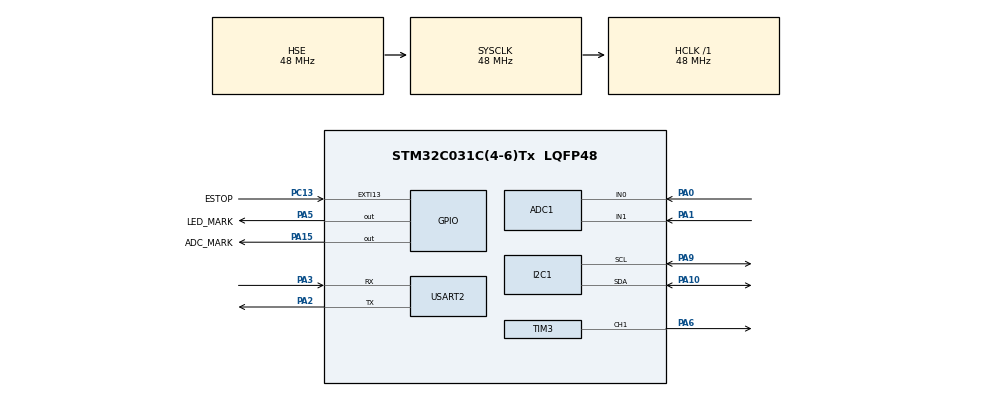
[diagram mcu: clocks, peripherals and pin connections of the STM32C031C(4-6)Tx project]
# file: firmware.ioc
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ADC1.NbrOfConversionFlag=0
ADC1.SelectedChannel=ADC_CHANNEL_0|ADC_CHANNEL_1
ADC1.master=1
I2C1.Timing=0x10805D88
Mcu.Family=STM32C0
Mcu.Name=STM32C031C(4-6)Tx
Mcu.Package=LQFP48
NVIC.EXTI4_15_IRQn=true\:0\:0\:false\:false\:true\:false\:true\:true
PA0.Mode=IN0
PA0.Signal=ADC1_IN0
PA1.Mode=IN1
PA1.Signal=ADC1_IN1
PA10.Mode=I2C
PA10.Signal=I2C1_SDA
PA13.GPIO_Label=DEBUG_SWDIO
PA13.Signal=DEBUG_SWDIO
PA14-BOOT0.GPIO_Label=DEBUG_SWCLK
PA14-BOOT0.Signal=DEBUG_SWCLK
PA15.GPIO_Label=ADC_MARK
PA15.Signal=GPIO_Output
PA2.Mode=Asynchronous
PA2.Signal=USART2_TX
PA3.Mode=Asynchronous
PA3.Signal=USART2_RX
PA5.GPIO_Label=LED_MARK
PA5.Signal=GPIO_Output
PA6.Signal=S_TIM3_CH1
PA9.Mode=I2C
PA9.Signal=I2C1_SCL
PC13.GPIO_Label=ESTOP
PC13.GPIO_ModeDefaultEXTI=GPIO_MODE_IT_FALLING
PC13.GPIO_PuPd=GPIO_PULLUP
PC13.Signal=GPXTI13
PC14-OSCX_IN\ (PC14).GPIO_Label=RCC_OSCX_IN
PC14-OSCX_IN\ (PC14).Mode=LSE-External-Oscillator
PC14-OSCX_IN\ (PC14).Signal=RCC_OSCX_IN
PC15-OSCX_OUT\ (PC15).GPIO_Label=RCC_OSCX_OUT
PC15-OSCX_OUT\ (PC15).Mode=LSE-External-Oscillator
PC15-OSCX_OUT\ (PC15).Signal=RCC_OSCX_OUT
PF0-OSC_IN\ (PF0).GPIO_Label=RCC_OSC_IN
PF0-OSC_IN\ (PF0).Mode=HSE-External-Oscillator
PF0-OSC_IN\ (PF0).Signal=RCC_OSC_IN
PF1-OSC_OUT\ (PF1).GPIO_Label=RCC_OSC_OUT
PF1-OSC_OUT\ (PF1).Mode=HSE-External-Oscillator
PF1-OSC_OUT\ (PF1).Signal=RCC_OSC_OUT
ProjectManager.HeapSize=0x200
ProjectManager.StackSize=0x400
ProjectManager.TargetToolchain=Makefile
RCC.ADCFreq_Value=48000000
RCC.AHBFreq_Value=48000000
RCC.CortexFreq_Value=48000000
RCC.EXTERNAL_CLOCK_VALUE=12288000
RCC.HCLKFreq_Value=48000000
RCC.HSE_VALUE=48000000
RCC.HSISYSCLKDivider=RCC_HSI_DIV1
RCC.HSI_VALUE=48000000
RCC.SYSCLKFreq_VALUE=48000000
RCC.SYSCLKSource=RCC_SYSCLKSOURCE_HSE
SH.S_TIM3_CH1.0=TIM3_CH1,PWM Generation1 CH1
TIM3.Channel-PWM\ Generation1\ CH1=TIM_CHANNEL_1
TIM3.Period=19999
TIM3.Prescaler=47
USART2.VirtualMode-Asynchronous=VM_ASYNC
VP_NUCLEO-C031C6_VS_BSP_COMMON.Mode=COMMON
board=NUCLEO-C031C6

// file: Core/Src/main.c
/* USER CODE BEGIN Header */
/**
  ******************************************************************************
  * @file           : main.c
  * @brief          : Main program body
  ******************************************************************************
  * @attention
  *
  * Copyright (c) 2026 STMicroelectronics.
  * All rights reserved.
  *
  * This software is licensed under terms that can be found in the LICENSE file
  * in the root directory of this software component.
  * If no LICENSE file comes with this software, it is provided AS-IS.
  *
  ******************************************************************************
  */
/* USER CODE END Header */
#include "main.h"
#include "adc.h"
#include "i2c.h"
#include "tim.h"
#include "usart.h"
#include "gpio.h"

/* USER CODE BEGIN Includes */
#include <stdarg.h>
#include <stdio.h>
#include <string.h>
#include "board.h"
#include "platform.h"
#include "adc_hal.h"
#include "servo_hal.h"
#include "i2c_hal.h"
#include "uart_hal.h"
#include "mpu6050.h"
#include "lcd1602.h"
#include "cli.h"
#include "period.h"
#include "gate.h"
#include "classify.h"
#include "impact.h"
#include "sorter.h"
#include "health.h"
#include "lcdfmt.h"
#if PERF
#include "perf.h"
#include "perf_hal.h"
#include "memmark.h"
#include "mem_hal.h"
#include <malloc.h>
#endif
/* USER CODE END Includes */

/* USER CODE BEGIN PTD */
/* Підсумок самоперевірки при старті (FR-08) */
typedef struct {
  unsigned ok, warn, fail;
} selftest_counts_t;

/* Сенсори для сценарію старту (методичка 6.2.7, docs/scenarios.md) */
enum { RDY_GATE = 0, RDY_CLASS, RDY_IMU, RDY_LCD, RDY_COUNT };

/* Номери задач super loop для вимірювань (docs/perf.md) */
enum {
  PT_UART = 0,
  PT_ESTOP,
  PT_GATE,
  PT_SORT,
  PT_IMU,
  PT_LCD,
  PT_LCD_PART,      /* дописування змінених символів LCD між періодами (set lcd_chars) */
#ifdef LAB2_CAP
  PT_TELEMETRY,
#endif
  PT_COUNT
};
/* USER CODE END PTD */

/* USER CODE BEGIN PD */
/* Super loop: періоди задач — усі тут (docs/tasks.md). Кожна задача сама
 * перевіряє HAL_GetTick і повертає керування, якщо її час не настав. */
#define GATE_PERIOD_MS      5u      /* gate_task: відлік АЦП gate, FR-01 */
#define IMU_PERIOD_MS       10u     /* imu_task: прискорення MPU-6050, FR-04 */
#define LCD_PERIOD_MS       500u    /* lcd_task: стан і лічильники на LCD1602, FR-06 */
#define ESTOP_DEBOUNCE_MS   20u     /* estop_task: EXTI кнопки вимкнено на цей час після першого фронту */

#define PERF_WIN_MS         1000u   /* вікно завантаження CPU, docs/perf.md */
#define IMU_READY_MG        500     /* |a| від 0,5 g — MPU справді міряє (у SLEEP на залізі дає нулі) */

#define FW_NAME             "lab3-superloop"
#ifndef GIT_HASH
#define GIT_HASH            "unknown"   /* app.mk передає -DGIT_HASH з git describe */
#endif
#define SERVO_SELFTEST_DEG  90u     /* середина ходу серво під час самоперевірки */

#ifdef TEST_I2C_FAULT
/* PRD, тест FR-09: make -f app.mk TEST_I2C_FAULT=1 */
#define I2C_FAULT_ADDR      0x69u   /* MPU-6050 з AD0 = 1 — на шині немає */
#define I2C_FAULT_PERIOD_MS 1000u   /* як часто imu_task звертається до I2C_FAULT_ADDR */
#endif

/* Вимірювальний harness ЛР2 (команди cap …, I2C-скан, телеметрія stream) —
 * лише у збірці make -f app.mk LAB2_CAP=1 */
#ifdef LAB2_CAP
#define TELEMETRY_PERIOD_MS 1000u   /* період рядка accel, поки stream on */
#define CAP_NACK_ADDR       0x69u   /* MPU-6050 з AD0 = 1 — на шині немає, чекаємо NACK */
#define CAP_SERVO_HOLD_MS   45u     /* LED_MARK після запису CCR: > 2 періоди ШИМ по 20 мс */
#define CAP_LCD_TEXT        "CAP             "   /* 16 символів: стирає старий рядок */

_Static_assert(CLI_SERVO_MAX_DEG == SERVO_HAL_MAX_DEG, "межа cap servo у cli.h != servo_hal.h");
#endif
/* USER CODE END PD */

/* USER CODE BEGIN PM */
/* Обгортка роботи задачі (методичка 5.1, приклад 1): такти до й після, джитер
 * старту періодичної задачі, завантаження. Викликається лише тоді, коли задача
 * справді працює, а не тільки перевіряє свій час. PERF=0 — просто виклик. */
/* Перший коректний вимір сенсора після скидання (методичка 6.2.7). Без PERF
 * умова READY_IF не обчислюється */
#if PERF
#define READY(what) ready_mark(what)
#define READY_IF(cond, what) \
  do { if (ready_us[what] == 0u && (cond)) ready_mark(what); } while (0)
#else
#define READY(what) ((void)0)
#define READY_IF(cond, what) ((void)0)
#endif

#if PERF
#define TASK_RUN(id, call) \
  do { uint32_t t0_ = perf_begin(id); call; perf_end((id), t0_); } while (0)
#else
#define TASK_RUN(id, call) call
#endif
/* USER CODE END PM */

/* USER CODE BEGIN PV */
#if PERF
/* Похибка методу (docs/perf.md): вартість самого виміру, тактів */
static uint32_t perf_now_cyc;    /* порожній інтервал між двома perf_now() */
static uint32_t perf_pair_cyc;   /* t0 = perf_now(); perf_add(&s, perf_now() - t0) */

static uint32_t cyc_per_us;
static perf_load_t load;         /* LOAD раз на PERF_WIN_MS */

/* STAT для кожної задачі — лише запуски з роботою. Назви ставить perf_setup:
 * з ініціалізатором уся статистика лягла б у .data і мала б копію у флеші */
static perf_stat_t st_task[PT_COUNT];
static const char *const task_name[PT_COUNT] = {
  [PT_UART] = "uart_rx", [PT_ESTOP] = "estop", [PT_GATE] = "gate",
  [PT_SORT] = "sort", [PT_IMU] = "imu", [PT_LCD] = "lcd", [PT_LCD_PART] = "lcd_part",
#ifdef LAB2_CAP
  [PT_TELEMETRY] = "telemetry",
#endif
};
static perf_stat_t st_loop;          /* loop: повний прохід циклу */
static perf_stat_t st_i2c;           /* i2c_xfer: виклик шини, з повторами FR-09 */
static perf_stat_t st_uart_line;     /* uart_line: один рядок журналу в UART */
static perf_stat_t st_lcd_update;    /* lcd_update: обидва рядки LCD */

/* Затримки реакції (методичка 5.1, приклад 2) */
static perf_stat_t st_estop_lat;     /* estop_latency: фронт PC13 → реакція */
static perf_stat_t st_parcel_lat;    /* parcel_latency: PARCEL_IN → запис CCR, FR-03 */

/* Старт: мкс від скидання (uwTick = 0 у HAL_Init) до BOOT і до першого
 * коректного виміру кожного сенсора; 0 — ще не було */
static uint32_t boot_us;
static uint32_t ready_us[RDY_COUNT];
static volatile uint32_t estop_irq_cyc;   /* perf_now() у EXTI-колбеку */
static uint32_t parcel_cyc;               /* perf_now() у момент PARCEL_IN */
static uint8_t i2c_failed;                /* остання транзакція впала: наступна вдала — EVT i2c_ok */

/* Джитер, пропуски й гістограма періодичних задач */
static perf_period_t per_gate, per_imu, per_lcd;
#ifdef LAB2_CAP
static perf_period_t per_tele;
#endif
static perf_period_t *const task_period[PT_COUNT] = {
  [PT_GATE] = &per_gate,
  [PT_IMU]  = &per_imu,
  [PT_LCD]  = &per_lcd,
#ifdef LAB2_CAP
  [PT_TELEMETRY] = &per_tele,
#endif
};

static i2c_bus_t i2c1_raw;       /* шина i2c_hal; i2c1_bus поверх неї міряє кожну транзакцію */
#endif
static i2c_hal_ctx_t i2c1_ctx;
static i2c_bus_t i2c1_bus;
static mpu6050_t imu;
static uint8_t imu_ready;   /* MPU-6050 відповів з WHO_AM_I = 0x68: imu_task його опитує */
static lcd1602_t lcd;
static uint8_t lcd_ready;   /* LCD пройшов probe та init */
static cli_t cli;
static gate_t gate;
static sorter_t sorter;
static const char *fault_reason;      /* FR-08: перша причина FAULT — ключ reason= у журналі */
static const char *fault_text = "";   /*   і текст для LCD */
/* Ручки для пошуку точки зламу (команда set, docs/scenarios.md, 6.2.5) */
static uint16_t lcd_period_ms = LCD_PERIOD_MS;
static uint16_t imu_period_ms = IMU_PERIOD_MS;
static uint8_t lcd_chars;             /* 0 — повна перемальовка; N — лише змінені, ≤ N символів за прохід */
static uint8_t log_level = 2;         /* 0 — нічого, 1 — події продукту, 2 — ще EVT і LOAD (log on|off = 2|0) */

static char lcd_want[2][LCD1602_COLS + 1];   /* що має бути на LCD */
static char lcd_shown[2][LCD1602_COLS];      /* що там зараз (для lcd_chars > 0; 0 — невідомо) */
static uint8_t lcd_pending;                  /* lcd_chars > 0: ще є незаписані зміни */

/* Момент останнього запуску періодичних задач (HAL_GetTick) */
static uint32_t t_gate, t_imu, t_lcd;

/* Подія PARCEL_IN: виставляє gate_task, обробляє sort_task */
static uint8_t parcel_pending;
static uint32_t parcel_ms;    /* HAL_GetTick відліку, на якому виявлено посилку */

static volatile uint8_t estop_pending;      /* був фронт PC13, EXTI вимкнено до кінця брязкоту */
static volatile uint32_t estop_edge_ms;     /* час першого фронту */

#ifdef LAB2_CAP
static uint8_t stream_on = 1;   /* періодичний рядок accel (команда stream) */
#endif

/* Текст команди help; синтаксис розбирає App/cli.c */
static const char *const help_lines[] = {
  "help                this list",
  "status              state, counters A/B/REJECT",
  "reset               zero the counters",
  "log on|off          event lines on UART (default on)",
#if PERF
  "stats [reset]       timing stats",
  "load                CPU load, 1 s",
  "stack | heap        memory",
  "hist gate|imu|lcd   jitter histogram",
  "set <knob> <n>      lcd_ms lcd_chars imu_ms log",
#endif
#ifdef LAB2_CAP
  "stream on|off       periodic 'accel' line (default on)",
  "cap whoami          MPU-6050: write 0x75, read 1 byte",
  "cap accel           MPU-6050: write 0x3B, read 6 bytes",
  "cap wr2             MPU-6050: 2-byte write PWR_MGMT_1 = 0x00",
  "cap nack            1-byte write to absent 0x69, NACK expected",
  "cap lcd             'CAP' on LCD row 1 (1-byte PCF8574 writes)",
  "cap servo <0..180>  set servo angle",
  "cap adc             one gate + one class conversion",
  "cap uart            send 0x55 and 'UART-TEST'",
#endif
};
/* USER CODE END PV */

void SystemClock_Config(void);
/* USER CODE BEGIN PFP */
static void uart_rx_task(void);
static void estop_task(void);
static void gate_task(void);
static void sort_task(void);
static void imu_task(void);
static void lcd_task(void);
static void ev_vprint(const char *event, const char *fmt, va_list ap);
static void ev_log(const char *event, const char *fmt, ...) __attribute__((format(printf, 2, 3)));
static void cli_reply(const char *event, const char *fmt, ...) __attribute__((format(printf, 2, 3)));
static void led_mark(uint8_t on);
static selftest_counts_t selftest_run(void);
static void selftest_report(selftest_counts_t *cnt, const char *dev, health_t h,
                            const char *fmt, ...) __attribute__((format(printf, 4, 5)));
static health_t selftest_ldr(selftest_counts_t *cnt, const char *dev, uint32_t channel);
static void fault_note(const char *reason, const char *text);
static const char *mpu_err_name(mpu6050_status_t st);
static void lcd_show_selftest(const selftest_counts_t *cnt);
static void console_echo(char ch);
static void cmd_run(const cli_cmd_t *cmd);
static void con_write(const char *s, int n);
static void uart_rx_run(int ch);
static void estop_run(void);
static void gate_run(void);
static void sort_run(void);
static void imu_run(void);
static void lcd_run(uint8_t due);
static lcd_status_t lcd_write_changed(void);
#if PERF
static void perf_calibrate(void);
static void perf_setup(void);
static uint32_t perf_begin(unsigned id);
static void perf_end(unsigned id, uint32_t t0);
static bus_status_t meas_write(void *ctx, uint8_t addr7, const uint8_t *data, size_t len);
static bus_status_t meas_read(void *ctx, uint8_t addr7, uint8_t *data, size_t len);
static void i2c_measured(uint32_t t0, bus_status_t st);
static void evt(const char *name, uint64_t t_us);
static void stack_report(void);
static void heap_report(void);
static void stats_report(void);
static void stats_reset(void);
static void load_line(void (*out)(const char *, const char *, ...));
static void load_report(void);
static void hist_report(const char *name);
static void knobs_line(void);
static void set_knob(const char *name, int32_t v);
static void ready_mark(unsigned what);
static void ready_flush(void);
#endif
#if defined(LAB2_CAP) || defined(TEST_I2C_FAULT)
static const char *bus_st_name(bus_status_t st);
#endif
#ifdef TEST_I2C_FAULT
static void i2c_fault_probe(void);
#endif
#ifdef LAB2_CAP
static void i2c_scan(void);
static void telemetry_task(void);
static void telemetry_run(void);
static void cap_begin(void);
static void cap_end(void);
static void cap_report(const char *name, const char *st, const char *fmt, ...)
    __attribute__((format(printf, 3, 4)));
static void cap_report_bus(const char *name, bus_status_t st);
static bus_status_t cap_mpu_read(uint8_t reg, uint8_t *buf, size_t len);
static void cap_whoami(void);
static void cap_accel(void);
static void cap_wr2(void);
static void cap_nack(void);
static void cap_lcd(void);
static void cap_servo(uint8_t deg);
static void cap_adc(void);
static void cap_uart(void);
#endif
/* USER CODE END PFP */

/* USER CODE BEGIN 0 */
int _write(int fd, char *p, int n)
{
  (void)fd;
  HAL_UART_Transmit(BOARD_UART, (uint8_t *)p, n, HAL_MAX_DELAY);
  return n;
}

/* Сирі байти в UART повз stdio. printf("\r\n") GCC сам перетворює на puts, а
 * putchar — ще один модуль newlib; stdout без буфера, тож порядок виводу той самий */
static void con_write(const char *s, int n)
{
  (void)_write(1, (char *)s, n);
}
/* USER CODE END 0 */

int main(void)
{

  /* USER CODE BEGIN 1 */
#if PERF
  /* Stack painting першим рядком main (методичка 5.4): резерв стека
   * [_estack - _Min_Stack_Size, SP - 16 слів) — шаблоном; поточний кадр не чіпаємо */
  memmark_paint(mem_hal_stack_bottom(), mem_hal_sp() - 16, MEMMARK_PATTERN);
#endif
  /* USER CODE END 1 */

  /* MCU Configuration--------------------------------------------------------*/

  /* Reset of all peripherals, Initializes the Flash interface and the Systick. */
  HAL_Init();

  /* Configure the system clock */
  SystemClock_Config();

  /* Initialize all configured peripherals */
  MX_GPIO_Init();
  MX_ADC1_Init();
  MX_I2C1_Init();
  MX_TIM3_Init();
  MX_USART2_UART_Init();
  /* USER CODE BEGIN 2 */
  setvbuf(stdout, NULL, _IONBF, 0);
#if PERF
  perf_hal_init();
  perf_setup();
#endif
  ev_log("BOOT", "fw=%s git=%s perf=%u", FW_NAME, GIT_HASH, (unsigned)PERF);
#if PERF
  {
    uint64_t t = perf_now_us64();
    boot_us = (uint32_t)t;
    evt("boot", t);
  }
  knobs_line();
  perf_calibrate();
#endif
  HAL_ADCEx_Calibration_Start(BOARD_ADC);
  servo_hal_start();

#ifdef LAB2_CAP
  i2c_scan();
#endif

  /* FR-08: самоперевірка; FAIL хоча б одного пристрою — FAULT до перезапуску.
   * На час самоперевірки — 1 спроба I2C: mpu6050_init сам повторює запис
   * PWR_MGMT_1 3 рази, а в Wokwi кожен 2-байтовий запис — TIMEOUT
   * (docs/journal.md, проблема 8), інакше було б 3 × 3 тайм-аути. FR-09
   * (до 3 спроб) — лише в робочому циклі. */
#if PERF
  i2c_hal_bus_init(&i2c1_raw, &i2c1_ctx, BOARD_I2C, BOARD_I2C_REINIT);
  i2c1_bus.write = meas_write;
  i2c1_bus.read = meas_read;
  i2c1_bus.ctx = &i2c1_raw;
#else
  i2c_hal_bus_init(&i2c1_bus, &i2c1_ctx, BOARD_I2C, BOARD_I2C_REINIT);
#endif
  i2c_hal_set_tries(&i2c1_ctx, 1);
  selftest_counts_t st = selftest_run();
  i2c_hal_set_tries(&i2c1_ctx, I2C_HAL_MAX_TRIES);
  lcd_show_selftest(&st);
  sorter_init(&sorter, st.fail != 0u);
  if (sorter.state == SORTER_FAULT)
    ev_log("FAULT", "reason=%s", fault_reason);

  gate_init(&gate, GATE_ON_RAW, GATE_OFF_RAW);
  cli_init(&cli);
  t_gate = t_imu = t_lcd = HAL_GetTick();   /* підсумок самоперевірки на LCD — ще LCD_PERIOD_MS */
  ev_log("STATE", "state=%s", sorter_state_name(sorter.state));
#if PERF
  stack_report();               /* глибина стека й купа після старту (методичка 5.4) */
  heap_report();
#endif
  /* USER CODE END 2 */

  /* Infinite loop */
  while (1)
  {

    /* USER CODE BEGIN 3 */
    /* Super loop: задачі по черзі; кожна сама перевіряє свій час і повертає
     * керування. Блокувальні виклики всередині задач — docs/tasks.md. */
#if PERF
    uint32_t t_loop = perf_now();
    if (perf_load_poll(&load, t_loop) && log_level >= 2)
      load_line(ev_log);
#endif
    uart_rx_task();
    estop_task();
    gate_task();
    sort_task();
    imu_task();
    lcd_task();
#ifdef LAB2_CAP
    telemetry_task();
#endif
#if PERF
    ready_flush();
    perf_add(&st_loop, perf_now() - t_loop);
#endif
  }
  /* USER CODE END 3 */
}

void SystemClock_Config(void)
{
  RCC_OscInitTypeDef RCC_OscInitStruct = {0};
  RCC_ClkInitTypeDef RCC_ClkInitStruct = {0};

  __HAL_FLASH_SET_LATENCY(FLASH_LATENCY_1);

  /** Initializes the RCC Oscillators according to the specified parameters
  * in the RCC_OscInitTypeDef structure.
  */
  RCC_OscInitStruct.OscillatorType = RCC_OSCILLATORTYPE_HSE;
  RCC_OscInitStruct.HSEState = RCC_HSE_ON;
  if (HAL_RCC_OscConfig(&RCC_OscInitStruct) != HAL_OK)
  {
    Error_Handler();
  }

  /** Initializes the CPU, AHB and APB buses clocks
  */
  RCC_ClkInitStruct.ClockType = RCC_CLOCKTYPE_HCLK|RCC_CLOCKTYPE_SYSCLK
                              |RCC_CLOCKTYPE_PCLK1;
  RCC_ClkInitStruct.SYSCLKSource = RCC_SYSCLKSOURCE_HSE;
  RCC_ClkInitStruct.SYSCLKDivider = RCC_SYSCLK_DIV1;
  RCC_ClkInitStruct.AHBCLKDivider = RCC_HCLK_DIV1;
  RCC_ClkInitStruct.APB1CLKDivider = RCC_APB1_DIV1;

  if (HAL_RCC_ClockConfig(&RCC_ClkInitStruct, FLASH_LATENCY_1) != HAL_OK)
  {
    Error_Handler();
  }
}

/* USER CODE BEGIN 4 */
/* ---------------------------------------------------------------------------
 * Журнал подій FR-10: один рядок "<мс> <ПОДІЯ> key=value ..." на подію.
 * printf → _write → HAL_UART_Transmit: виклик блокує цикл до кінця передачі,
 * ≈ 87 мкс на байт при 115200 8N1.
 * ------------------------------------------------------------------------- */
static void ev_vprint(const char *event, const char *fmt, va_list ap)
{
#if PERF
  uint32_t t0 = perf_now();
#endif
  printf("%lu %s ", (unsigned long)HAL_GetTick(), event);
  vprintf(fmt, ap);
  con_write("\r\n", 2);
#if PERF
  perf_add(&st_uart_line, perf_now() - t0);
#endif
}

/* Подія: друкується, лише поки log on */
static void ev_log(const char *event, const char *fmt, ...)
{
  va_list ap;

  if (log_level == 0)
    return;
  va_start(ap, fmt);
  ev_vprint(event, fmt, ap);
  va_end(ap);
}

/* Відповідь на команду CLI: друкується завжди */
static void cli_reply(const char *event, const char *fmt, ...)
{
  va_list ap;

  va_start(ap, fmt);
  ev_vprint(event, fmt, ap);
  va_end(ap);
}

/* Маркер FR-03 на LD4 (PA5, канал D4 аналізатора): фронт — посилку виявлено
 * (gate_task), спад — рішення прийнято і CCR серво записано (sort_task).
 * Ширина імпульсу — програмна затримка реакції; від фронту D4 до першого
 * імпульсу нової ширини на D2 (PA6) — повна затримка FR-03. */
static void led_mark(uint8_t on)
{
  HAL_GPIO_WritePin(BOARD_LED_MARK_PORT, BOARD_LED_MARK_PIN, on ? GPIO_PIN_SET : GPIO_PIN_RESET);
}

/* ---------------------------------------------------------------------------
 * Задачі super loop (docs/tasks.md)
 * ------------------------------------------------------------------------- */

/* Кожен прохід: усі прийняті байти → cli; завершена команда виконується тут же
 * разом з друком відповіді. USART2 без FIFO, прийом опитуванням: якщо між двома
 * викликами приходить більше одного байта (цикл заблоковано довше ≈ 87 мкс при
 * безперервному потоці), решта губиться (ORE). */
static void uart_rx_task(void)
{
  int ch = uart_hal_getc();

  if (ch < 0)
    return;
  TASK_RUN(PT_UART, uart_rx_run(ch));
}

/* Перший байт уже прочитано; решту, що встигла прийти, забираємо тут же */
static void uart_rx_run(int ch)
{
  do {
    cli_cmd_t cmd;

    console_echo((char)ch);
    if (cli_feed(&cli, (char)ch, &cmd)) {
#if PERF
      uint64_t us_rx = perf_now_us64();   /* цикл дійшов до кінця рядка команди */
#endif
      if (ch != '\r' && ch != '\n')
        con_write("\r\n", 2);   /* переповнення: команда завершилась посеред рядка */
      cmd_run(&cmd);
#if PERF
      uint64_t us_reply = perf_now_us64();
      evt("cmd_rx", us_rx);
      evt("cmd_reply", us_reply);
#endif
    }
  } while ((ch = uart_hal_getc()) >= 0);
}

/* Кнопка E-STOP (PC13, EXTI за спадом, pull-up). ISR лише фіксує перший фронт і
 * вимикає EXTI: кнопка Wokwi брязкотить до 2,4 мс і дає до ~200 фронтів на перехід,
 * а клік тримає кнопку від 33 мс (docs/journal.md, проблема 14). */
void HAL_GPIO_EXTI_Falling_Callback(uint16_t GPIO_Pin)
{
  if (GPIO_Pin != BOARD_ESTOP_PIN)
    return;
  HAL_NVIC_DisableIRQ(BOARD_ESTOP_IRQ);
#if PERF
  estop_irq_cyc = perf_now();
#endif
  estop_edge_ms = HAL_GetTick();
  estop_pending = 1;
}

/* Подія від ISR. Через ESTOP_DEBOUNCE_MS після фронту: PC13 = 0 — натискання,
 * стан перемикається (FR-07); PC13 = 1 — брязкіт відпускання. Фронти за цей час
 * скидаються, EXTI вмикається знову — ще до друку рядка. */
static void estop_task(void)
{
  if (!estop_pending || HAL_GetTick() - estop_edge_ms < ESTOP_DEBOUNCE_MS)
    return;
  TASK_RUN(PT_ESTOP, estop_run());
}

static void estop_run(void)
{
  static uint16_t presses;

  estop_pending = 0;
#if PERF
  /* Мітку ISR читаємо до EnableIRQ: поки переривання вимкнене, колбек її не
   * перезапише. Час реакції — момент, коли цикл дійшов до рішення. */
  uint32_t t_irq = estop_irq_cyc;
  uint32_t t_react = perf_now();
  uint64_t us_react = perf_now_us64();
#endif
  uint8_t pressed = (HAL_GPIO_ReadPin(BOARD_ESTOP_PORT, BOARD_ESTOP_PIN) == GPIO_PIN_RESET);
  __HAL_GPIO_EXTI_CLEAR_FALLING_IT(BOARD_ESTOP_PIN);
  HAL_NVIC_ClearPendingIRQ(BOARD_ESTOP_IRQ);
  HAL_NVIC_EnableIRQ(BOARD_ESTOP_IRQ);

  if (pressed) {
    sorter_state_t st = sorter_estop_toggle(&sorter);
    presses++;
    ev_log("ESTOP", "n=%u state=%s", (unsigned)presses, sorter_state_name(st));
#if PERF
    uint32_t lat = t_react - t_irq;   /* включно з ESTOP_DEBOUNCE_MS */
    perf_add(&st_estop_lat, lat);
    evt("estop_irq", us_react - perf_cyc_to_us(lat, cyc_per_us));
    evt("estop_react", us_react);
#endif
  }
}

/* Кожні GATE_PERIOD_MS: відлік АЦП gate → поріг з гістерезисом (FR-01).
 * PARCEL_IN — подія для sort_task; PARCEL_OUT — посилка пройшла, SORTING → READY. */
static void gate_task(void)
{
  if (!period_due(&t_gate, HAL_GetTick(), GATE_PERIOD_MS))
    return;
  TASK_RUN(PT_GATE, gate_run());
}

static void gate_run(void)
{
  uint16_t raw = adc_hal_read(BOARD_ADC_CH_GATE);
  READY_IF(health_ldr(raw, ADC_HAL_MAX_RAW) == HEALTH_OK, RDY_GATE);
  switch (gate_update(&gate, raw)) {
  case GATE_EV_IN:
#if PERF
    parcel_cyc = perf_now();
#endif
    led_mark(1);
    parcel_ms = HAL_GetTick();
    parcel_pending = 1;
    ev_log("PARCEL_IN", "gate=%u", (unsigned)raw);
    break;
  case GATE_EV_OUT:
    sorter_parcel_out(&sorter);
    ev_log("PARCEL_OUT", "gate=%u state=%s", (unsigned)raw, sorter_state_name(sorter.state));
    break;
  default:
    break;
  }
}

/* Подія PARCEL_IN: клас (FR-02), прапорець удару (FR-04), лоток (FR-05),
 * заслінка (FR-03), лічильники (FR-06). Спершу дія, потім рядок журналу.
 * Нова ширина імпульсу на PA6 з'являється з наступного періоду ШИМ (≤ 20 мс). */
static void sort_task(void)
{
  if (!parcel_pending)
    return;
  TASK_RUN(PT_SORT, sort_run());
}

static void sort_run(void)
{
  sorter_decision_t d;

  parcel_pending = 0;

  uint16_t raw = adc_hal_read(BOARD_ADC_CH_CLASS);
  READY_IF(health_ldr(raw, ADC_HAL_MAX_RAW) == HEALTH_OK, RDY_CLASS);
  parcel_class_t cls = classify(raw);
  int accepted = sorter_parcel_in(&sorter, cls, &d);
  if (accepted)
    servo_hal_set_angle(d.angle);
#if PERF
  uint32_t t_dec = perf_now();          /* CCR записано (або посилку пропущено) */
  uint64_t us_dec = perf_now_us64();
#endif
  led_mark(0);
  uint32_t lat_ms = HAL_GetTick() - parcel_ms;

  if (accepted)
    ev_log("SORT", "n=%lu class=%s raw=%u impact=%u route=%s angle=%u lat_ms=%lu",
           (unsigned long)d.n, classify_name(cls), (unsigned)raw, (unsigned)d.impact,
           sorter_bin_name(d.bin), (unsigned)d.angle, (unsigned long)lat_ms);
  else
    ev_log("SORT_SKIP", "state=%s class=%s",
           sorter_state_name(sorter.state), classify_name(cls));
#if PERF
  /* EVT друкуємо після дії: рядок журналу (~3 мс) не входить у затримку */
  uint32_t lat = t_dec - parcel_cyc;
  evt("parcel_in", us_dec - perf_cyc_to_us(lat, cyc_per_us));
  if (accepted) {
    perf_add(&st_parcel_lat, lat);
    evt("servo_set", us_dec);
  }
#endif
}

/* Кожні IMU_PERIOD_MS: прискорення MPU-6050; |a| > 2 g — прапорець удару для
 * посилки, що зараз їде до gate (FR-04). Рядок IMPACT — один на посилку. */
static void imu_task(void)
{
  if (!imu_ready || !period_due(&t_imu, HAL_GetTick(), imu_period_ms))
    return;
  TASK_RUN(PT_IMU, imu_run());
}

static void imu_run(void)
{
  mpu6050_accel_raw_t a;

#ifdef TEST_I2C_FAULT
  i2c_fault_probe();
#endif

  mpu6050_status_t st = mpu6050_read_accel_raw(&imu, &a);
  if (st != MPU6050_OK) {
    ev_log("IMU_ERR", "st=%s", mpu_err_name(st));
    return;
  }

  int32_t x = mpu6050_raw_to_mg(a.x);
  int32_t y = mpu6050_raw_to_mg(a.y);
  int32_t z = mpu6050_raw_to_mg(a.z);
  uint32_t m2 = impact_mag2(x, y, z);
  READY_IF(m2 >= (uint32_t)IMU_READY_MG * IMU_READY_MG, RDY_IMU);
  if (impact_over(m2) && sorter_impact(&sorter))
    ev_log("IMPACT", "amag_mg=%lu x_mg=%ld y_mg=%ld z_mg=%ld",
           (unsigned long)impact_isqrt(m2), (long)x, (long)y, (long)z);
}

/* Кожні LCD_PERIOD_MS: стан і лічильники A/B/REJECT (FR-06) або причина FAULT
 * (FR-08). Обидва рядки переписуються повністю: 2 × (курсор + 16 символів) =
 * 34 байти HD44780 по ≈ 926 мкс — ≈ 31,5 мс блокування за запуск. */
static void lcd_task(void)
{
  uint8_t due;

  if (!lcd_ready)
    return;
  due = (uint8_t)period_due(&t_lcd, HAL_GetTick(), lcd_period_ms);
  if (!due && !lcd_pending)
    return;
#if PERF
  BOARD_PROBE_ON(BOARD_PROBE_LCD_PIN);    /* D7: головний блокувальник циклу */
#endif
  if (due)
    TASK_RUN(PT_LCD, lcd_run(1));
  else
    TASK_RUN(PT_LCD_PART, lcd_run(0));    /* лише при lcd_chars > 0 */
#if PERF
  BOARD_PROBE_OFF(BOARD_PROBE_LCD_PIN);
#endif
}

/* due = 1 — настав період: новий текст рядків. lcd_chars = 0 — обидва рядки
 * повністю (34 записи HD44780, ~31,5 мс); N > 0 — лише символи, що змінилися,
 * не більше N за прохід, решта — на наступних проходах циклу (STAT lcd_part) */
static void lcd_run(uint8_t due)
{
  char *row0 = lcd_want[0];
  char *row1 = lcd_want[1];
  const size_t cap = sizeof lcd_want[0];
  lcd_status_t st;

  if (due) {
  /* Той самий текст, що давали "%-16s", "%-8s n=%-5lu" і "A%-4lu B%-4lu R%-3lu" */
  if (sorter.state == SORTER_FAULT) {
    lcdfmt_str(row0, 0, cap, "FAULT:", LCD1602_COLS);
    lcdfmt_str(row1, 0, cap, fault_text, LCD1602_COLS);
  } else {
    size_t n = lcdfmt_str(row0, 0, cap, sorter_state_name(sorter.state), 8);
    n = lcdfmt_str(row0, n, cap, " n=", 0);
    lcdfmt_u32(row0, n, cap, sorter_total(&sorter), 5);
    n = lcdfmt_str(row1, 0, cap, "A", 0);
    n = lcdfmt_u32(row1, n, cap, sorter.count[BIN_A], 4);
    n = lcdfmt_str(row1, n, cap, " B", 0);
    n = lcdfmt_u32(row1, n, cap, sorter.count[BIN_B], 4);
    n = lcdfmt_str(row1, n, cap, " R", 0);
    lcdfmt_u32(row1, n, cap, sorter.count[BIN_REJECT], 3);
  }
  }

#if PERF
  uint32_t t0 = perf_now();
#endif
  if (lcd_chars == 0u) {
    st = lcd1602_set_cursor(&lcd, 0, 0);
    if (st == LCD_OK)
      st = lcd1602_print(&lcd, row0);
    if (st == LCD_OK)
      st = lcd1602_set_cursor(&lcd, 0, 1);
    if (st == LCD_OK)
      st = lcd1602_print(&lcd, row1);
  } else {
    st = lcd_write_changed();
  }
#if PERF
  perf_add(&st_lcd_update, perf_now() - t0);
#endif
  READY_IF(st == LCD_OK, RDY_LCD);
  if (st != LCD_OK) {
    memset(lcd_shown, 0, sizeof lcd_shown);   /* що на екрані — невідомо: наступний період перепише все */
    lcd_pending = 0;
    ev_log("LCD_ERR", "isr=0x%08lX", (unsigned long)i2c1_ctx.last_isr);
  }
}

/* lcd_chars > 0: не більше lcd_chars символів, що відрізняються від показаних.
 * Курсор ставиться лише перед «стрибком»: після запису символу HD44780 сам
 * переходить на наступну позицію (крім кінця рядка). Команда курсора — ще
 * ~0,93 мс, у ліміт символів вона не входить. */
static lcd_status_t lcd_write_changed(void)
{
  unsigned left = lcd_chars;
  int cur = -1;                 /* позиція курсора HD44780 після останнього запису */
  lcd_status_t st = LCD_OK;

  lcd_pending = 0;
  for (unsigned i = 0; i < 2u * LCD1602_COLS; i++) {
    unsigned r = i / LCD1602_COLS, c = i % LCD1602_COLS;
    char ch[2] = { lcd_want[r][c], '\0' };

    if (lcd_shown[r][c] == ch[0])
      continue;
    if (left == 0u) {
      lcd_pending = 1;          /* решта — на наступному проході циклу */
      break;
    }
    if (cur != (int)i)
      st = lcd1602_set_cursor(&lcd, (uint8_t)c, (uint8_t)r);
    if (st == LCD_OK)
      st = lcd1602_print(&lcd, ch);
    if (st != LCD_OK)
      break;
    lcd_shown[r][c] = ch[0];
    cur = (c == LCD1602_COLS - 1u) ? -1 : (int)i + 1;
    left--;
  }
  return st;
}

#if PERF
/* ---------------------------------------------------------------------------
 * Вимірювання (docs/perf.md)
 * ------------------------------------------------------------------------- */

/* Похибка методу. now_cyc — порожній інтервал між двома perf_now(): на стільки
 * завищений кожен вимір. pair_cyc — скільки тактів циклу забирає пара
 * «t0 = perf_now(); perf_add(&s, perf_now() - t0)» понад now_cyc. Мінімум із 16
 * спроб: у будь-яку може влізти SysTick. */
static void perf_calibrate(void)
{
  perf_stat_t cal = { .name = "cal" };

  perf_now_cyc = UINT32_MAX;
  perf_pair_cyc = UINT32_MAX;
  for (int i = 0; i < 16; i++) {
    uint32_t a = perf_now();
    uint32_t b = perf_now();
    uint32_t t0 = perf_now();
    perf_add(&cal, perf_now() - t0);
    uint32_t c = perf_now();

    if (b - a < perf_now_cyc)
      perf_now_cyc = b - a;
    if (c - b - (b - a) < perf_pair_cyc)
      perf_pair_cyc = c - b - (b - a);
  }
  ev_log("PERF", "cpu_hz=%lu now_cyc=%lu pair_cyc=%lu",
         (unsigned long)perf_hal_cpu_hz(), (unsigned long)perf_now_cyc,
         (unsigned long)perf_pair_cyc);
}

static void perf_setup(void)
{
  for (unsigned i = 0; i < PT_COUNT; i++)
    st_task[i].name = task_name[i];
  st_loop.name = "loop";
  st_i2c.name = "i2c_xfer";
  st_uart_line.name = "uart_line";
  st_lcd_update.name = "lcd_update";
  st_estop_lat.name = "estop_latency";
  st_parcel_lat.name = "parcel_latency";
  cyc_per_us = perf_hal_cpu_hz() / 1000000u;
  perf_load_init(&load, perf_hal_cpu_hz() / 1000u * PERF_WIN_MS);   /* 1 с = SystemCoreClock тактів */
  perf_period_init(&per_gate, GATE_PERIOD_MS * 1000u);
  perf_period_init(&per_imu, IMU_PERIOD_MS * 1000u);
  perf_period_init(&per_lcd, LCD_PERIOD_MS * 1000u);
#ifdef LAB2_CAP
  perf_period_init(&per_tele, TELEMETRY_PERIOD_MS * 1000u);
#endif
}

/* D6 (PB13) = 1, поки працює будь-яка задача: на аналізаторі ширина імпульсу —
 * час задачі, відстань між фронтами — період і джитер (методичка 5.3) */
static uint32_t perf_begin(unsigned id)
{
  BOARD_PROBE_ON(BOARD_PROBE_TASK_PIN);
  /* джитер — до t0: облік старту (там ділення) не входить у час задачі */
  if (task_period[id] != NULL)
    perf_period_start(task_period[id], perf_now(), cyc_per_us);
  return perf_now();
}

static void perf_end(unsigned id, uint32_t t0)
{
  uint32_t cyc = perf_now() - t0;

  BOARD_PROBE_OFF(BOARD_PROBE_TASK_PIN);
  perf_add(&st_task[id], cyc);
  perf_load_busy(&load, cyc);
}

/* Вимірювальна шина поверх i2c_hal: кожен виклик write/read драйвера —
 * один вимір i2c_xfer, разом з повторами й відновленням FR-09 */
static bus_status_t meas_write(void *ctx, uint8_t addr7, const uint8_t *data, size_t len)
{
  const i2c_bus_t *raw = ctx;
  uint32_t t0 = perf_now();
  bus_status_t st = raw->write(raw->ctx, addr7, data, len);

  i2c_measured(t0, st);
  return st;
}

static bus_status_t meas_read(void *ctx, uint8_t addr7, uint8_t *data, size_t len)
{
  const i2c_bus_t *raw = ctx;
  uint32_t t0 = perf_now();
  bus_status_t st = raw->read(raw->ctx, addr7, data, len);

  i2c_measured(t0, st);
  return st;
}

/* EVT i2c_fail — кожна транзакція, що впала після всіх спроб FR-09;
 * EVT i2c_ok — перша вдала після збою (шина ожила) */
static void i2c_measured(uint32_t t0, bus_status_t st)
{
  perf_add(&st_i2c, perf_now() - t0);
  if (st != BUS_OK) {
    i2c_failed = 1;
    evt("i2c_fail", perf_now_us64());
  } else if (i2c_failed) {
    i2c_failed = 0;
    evt("i2c_ok", perf_now_us64());
  }
}

/* Глибина стека за stack painting. used = reserved — шаблон зіпсовано до самого
 * низу: стек, найімовірніше, вийшов за резерв _Min_Stack_Size і щось перезаписав */
static void stack_report(void)
{
  uint32_t *bottom = mem_hal_stack_bottom();
  uint32_t *top = mem_hal_stack_top();
  uint32_t used = memmark_used_bytes(bottom, top, MEMMARK_PATTERN);
  uint32_t reserved = (uint32_t)((top - bottom) * (int)sizeof(uint32_t));

  cli_reply("STACK", "used=%lu reserved=%lu free=%lu overflow=%u",
            (unsigned long)used, (unsigned long)reserved, (unsigned long)(reserved - used),
            (unsigned)(used >= reserved));
}

/* Купа newlib (printf і stdio беруть пам'ять через malloc): arena — скільки
 * забрано в sbrk (не зменшується, тож це пік), used / free — усередині арени */
static void heap_report(void)
{
  /* _mallinfo_r — те саме ядро, що в mallinfo(), але без mstats.o: той тягне
   * malloc_stats, fprintf і strlen (~450 Б флешу), які тут не потрібні */
  struct mallinfo mi = _mallinfo_r(_REENT);

  cli_reply("HEAP", "arena=%u used=%u free=%u",
            (unsigned)mi.arena, (unsigned)mi.uordblks, (unsigned)mi.fordblks);
}

/* Один рядок STAT (методичка 5.1), час у мкс. Ключі однакові для всіх рядків:
 * у задач за подією і блокувальних викликів period_us=0 і нулі джитера.
 * Джитер старту знаковий, miss — інтервал між стартами понад 2 періоди */
static void stat_line(const perf_stat_t *s, const perf_period_t *p)
{
  cli_reply("STAT", "name=%s n=%lu min_us=%lu avg_us=%lu max_us=%lu period_us=%lu "
            "jit_min_us=%ld jit_max_us=%ld miss=%lu", s->name, (unsigned long)s->count,
            (unsigned long)perf_cyc_to_us(s->min, cyc_per_us),
            (unsigned long)perf_cyc_to_us(perf_avg(s), cyc_per_us),
            (unsigned long)perf_cyc_to_us(s->max, cyc_per_us),
            (unsigned long)(p ? p->period_us : 0u), (long)(p ? p->jit_min_us : 0),
            (long)(p ? p->jit_max_us : 0), (unsigned long)(p ? p->missed : 0u));
}

/* Команда stats: шапка з версією і похибкою методу, далі всі STAT і лічильники UART */
static void stats_report(void)
{
  static const perf_stat_t *const other[] = {
    &st_loop, &st_i2c, &st_uart_line, &st_lcd_update, &st_estop_lat, &st_parcel_lat,
  };
  uint32_t rx, ore;

  cli_reply("PERF", "git=%s now_cyc=%lu pair_cyc=%lu cyc_per_us=%lu", GIT_HASH,
            (unsigned long)perf_now_cyc, (unsigned long)perf_pair_cyc, (unsigned long)cyc_per_us);
  knobs_line();
  cli_reply("STARTUP", "boot_us=%lu gate_us=%lu class_us=%lu imu_us=%lu lcd_us=%lu",
            (unsigned long)boot_us, (unsigned long)ready_us[RDY_GATE],
            (unsigned long)ready_us[RDY_CLASS], (unsigned long)ready_us[RDY_IMU],
            (unsigned long)ready_us[RDY_LCD]);
  for (unsigned i = 0; i < PT_COUNT; i++)
    stat_line(&st_task[i], task_period[i]);
  for (size_t i = 0; i < sizeof other / sizeof other[0]; i++)
    stat_line(other[i], NULL);
  uart_hal_counters(&rx, &ore);
  cli_reply("UART", "rx=%lu ore=%lu", (unsigned long)rx, (unsigned long)ore);
}

/* stats reset: усі STAT, джитер, гістограми й лічильники UART у нуль.
 * Вікно завантаження не чіпаємо — воно й так оновлюється щосекунди */
static void stats_reset(void)
{
  static perf_stat_t *const other[] = {
    &st_loop, &st_i2c, &st_uart_line, &st_lcd_update, &st_estop_lat, &st_parcel_lat,
  };

  for (unsigned i = 0; i < PT_COUNT; i++) {
    perf_stat_reset(&st_task[i]);
    if (task_period[i] != NULL)
      perf_period_reset(task_period[i]);
  }
  for (size_t i = 0; i < sizeof other / sizeof other[0]; i++)
    perf_stat_reset(other[i]);
  uart_hal_counters_reset();
  cli_reply("STATS", "reset=1");
}

/* LOAD за останнє закрите вікно (методичка 5.1, приклад 4). Щосекунди з циклу —
 * як подія (log off вимикає), командою load — завжди */
static void load_line(void (*out)(const char *, const char *, ...))
{
  out("LOAD", "pct=%lu pm=%lu win_cyc=%lu busy_cyc=%lu windows=%lu",
      (unsigned long)load.last_pct, (unsigned long)load.last_pm,
      (unsigned long)load.last_win, (unsigned long)load.last_busy,
      (unsigned long)load.windows);
}

static void load_report(void)
{
  load_line(cli_reply);
}

/* Команда hist <задача>: шапка і по рядку на кожен непорожній кошик 100 мкс.
 * Крайні кошики — «нижче за -1000 мкс» і «від 2000 мкс» */
static void hist_report(const char *name)
{
  const perf_period_t *p = NULL;

  for (unsigned i = 0; i < PT_COUNT; i++)
    if (task_period[i] != NULL && strcmp(st_task[i].name, name) == 0)
      p = task_period[i];
  if (p == NULL) {
    cli_reply("HIST", "name=%s st=BAD", name);
    return;
  }
  cli_reply("HIST", "name=%s period_us=%lu n=%lu step_us=%d",
            name, (unsigned long)p->period_us, (unsigned long)p->n, PERF_HIST_STEP_US);
  for (unsigned b = 0; b < PERF_HIST_BINS; b++) {
    long lo = perf_hist_lo_us(b);

    if (p->hist[b] == 0u)
      continue;
    if (b == 0u)
      cli_reply("HIST", "name=%s lo_us=-inf hi_us=%d n=%lu", name, PERF_HIST_LO_US,
                (unsigned long)p->hist[b]);
    else if (b == PERF_HIST_BINS - 1u)
      cli_reply("HIST", "name=%s lo_us=%ld hi_us=inf n=%lu", name, lo, (unsigned long)p->hist[b]);
    else
      cli_reply("HIST", "name=%s lo_us=%ld hi_us=%ld n=%lu", name, lo,
                lo + PERF_HIST_STEP_US, (unsigned long)p->hist[b]);
  }
}

/* Перший коректний вимір сенсора (лише раз): мітка часу для рядка STARTUP у
 * stats і EVT ready_<сенсор>. STARTUP не загубиться, навіть якщо скрипт підключився до
 * UART уже після старту. 32 біти мкс вистачає на 71 хв від скидання */
static void ready_mark(unsigned what)
{
  uint32_t t;

  if (ready_us[what] != 0u)
    return;
  t = (uint32_t)perf_now_us64();
  ready_us[what] = t ? t : 1u;
}

/* EVT ready_<сенсор> друкується наприкінці проходу циклу, поза задачами: рядок
 * (~3,5 мс) не потрапляє ні в час задачі, ні в шлях PARCEL_IN -> CCR */
static void ready_flush(void)
{
  static const char *const name[RDY_COUNT] = {
    [RDY_GATE] = "ready_gate", [RDY_CLASS] = "ready_class",
    [RDY_IMU] = "ready_imu", [RDY_LCD] = "ready_lcd",
  };
  static uint8_t printed;

  if (printed == (1u << RDY_COUNT) - 1u)
    return;
  for (unsigned i = 0; i < RDY_COUNT; i++) {
    if (ready_us[i] != 0u && !(printed & (1u << i))) {
      printed |= (uint8_t)(1u << i);
      evt(name[i], ready_us[i]);
    }
  }
}

/* Поточні значення ручок: після BOOT, у stats і у відповідь на set */
static void knobs_line(void)
{
  cli_reply("KNOBS", "lcd_ms=%u lcd_chars=%u imu_ms=%u log=%u", (unsigned)lcd_period_ms,
            (unsigned)lcd_chars, (unsigned)imu_period_ms, (unsigned)log_level);
}

/* Команда set (docs/scenarios.md, 6.2.5). Зміна періоду обнуляє джитер задачі:
 * старий номінальний період уже не той. lcd_chars — що на екрані, вже невідомо,
 * тож наступний період перепише всі символи (порціями по lcd_chars) */
static void set_knob(const char *name, int32_t v)
{
  if (strcmp(name, "lcd_ms") == 0 && v >= 10) {
    lcd_period_ms = (uint16_t)v;
    perf_period_init(&per_lcd, (uint32_t)v * 1000u);
  } else if (strcmp(name, "imu_ms") == 0 && v >= 1 && v <= 1000) {
    imu_period_ms = (uint16_t)v;
    perf_period_init(&per_imu, (uint32_t)v * 1000u);
  } else if (strcmp(name, "lcd_chars") == 0 && v <= (int32_t)(2u * LCD1602_COLS)) {
    lcd_chars = (uint8_t)v;
    memset(lcd_shown, 0, sizeof lcd_shown);
    lcd_pending = 0;
  } else if (strcmp(name, "log") == 0 && v <= 2) {
    log_level = (uint8_t)v;
  } else {
    cli_reply("SET", "name=%s st=BAD", name);
    return;
  }
  knobs_line();
}

/* Журнал подій (методичка 5.2): "<мс> EVT t_us=<64-біт мкс> name=<подія>".
 * printf з newlib-nano не вміє %llu, тому 64 біти — двома частинами по 10^9.
 * Як і решта подій, вимикається командою log off. */
static void evt(const char *name, uint64_t t_us)
{
  uint32_t lo, hi;

  if (log_level < 2)
    return;
  hi = perf_udiv64(t_us, 1000000000u, &lo);

  if (hi != 0u)
    ev_log("EVT", "t_us=%lu%09lu name=%s", (unsigned long)hi, (unsigned long)lo, name);
  else
    ev_log("EVT", "t_us=%lu name=%s", (unsigned long)lo, name);
}
#endif

#ifdef TEST_I2C_FAULT
/* PRD, тест FR-09: раз на I2C_FAULT_PERIOD_MS — читання 1 байта з відсутньої
 * адреси. Читання, а не запис: 1-байтовий запис на відсутню адресу у Wokwi
 * повертає HAL_OK (docs/journal.md, проблема 9). Очікується I2C_RECOVER
 * try=1/3 … 3/3, st=NACK, а наступне опитування 0x68 — штатне. */
static void i2c_fault_probe(void)
{
  static uint32_t t_fault;
  uint8_t b;

  if (!period_due(&t_fault, HAL_GetTick(), I2C_FAULT_PERIOD_MS))
    return;
  bus_status_t st = i2c1_bus.read(i2c1_bus.ctx, I2C_FAULT_ADDR, &b, 1);
  ev_log("I2C_FAULT_TEST", "addr=0x%02X st=%s", (unsigned)I2C_FAULT_ADDR, bus_st_name(st));
}
#endif

/* ---------------------------------------------------------------------------
 * Самоперевірка при старті (FR-08)
 * ------------------------------------------------------------------------- */

/* Рядок FR-10: "<мс> SELFTEST dev=<пристрій> status=<OK|WARN|FAIL> key=value..." */
static void selftest_report(selftest_counts_t *cnt, const char *dev, health_t h,
                            const char *fmt, ...)
{
  va_list ap;

  printf("%lu SELFTEST dev=%s status=%s ", (unsigned long)HAL_GetTick(), dev, health_name(h));
  va_start(ap, fmt);
  vprintf(fmt, ap);
  va_end(ap);
  con_write("\r\n", 2);

  if (h == HEALTH_OK)
    cnt->ok++;
  else if (h == HEALTH_WARN)
    cnt->warn++;
  else
    cnt->fail++;
}

/* Перша причина FAULT лишається: її показує LCD */
static void fault_note(const char *reason, const char *text)
{
  if (fault_reason == NULL) {
    fault_reason = reason;
    fault_text = text;
  }
}

static health_t selftest_ldr(selftest_counts_t *cnt, const char *dev, uint32_t channel)
{
  uint16_t raw = adc_hal_read(channel);
  health_t h = health_ldr(raw, ADC_HAL_MAX_RAW);

  selftest_report(cnt, dev, h, "raw=%u", (unsigned)raw);
  return h;
}

static const char *mpu_err_name(mpu6050_status_t st)
{
  switch (st) {
  case MPU6050_ERR_BUS:   return "BUS";
  case MPU6050_ERR_ID:    return "ID";
  case MPU6050_ERR_SLEEP: return "SLEEP";
  default:                return "NONE";
  }
}

/* Самоперевірка; рядок SELFTEST_END — завжди останній */
static selftest_counts_t selftest_run(void)
{
  selftest_counts_t cnt = {0};

  /* MPU-6050: WHO_AM_I = 0x68. SLEEP, що не знімається у Wokwi (docs/journal.md,
   * проблема 8), — WARN: прискорення читається, сортувальник працює */
  mpu6050_status_t ms = mpu6050_init(&imu, &i2c1_bus, BOARD_MPU_ADDR);
  health_t h = health_mpu(ms);
  imu_ready = (h != HEALTH_FAIL);
  if (ms == MPU6050_OK)
    selftest_report(&cnt, "mpu6050", h, "who=0x%02X tries=%u",
                    imu.who_am_i, (unsigned)imu.init_tries);
  else
    selftest_report(&cnt, "mpu6050", h, "who=0x%02X tries=%u err=%s",
                    imu.who_am_i, (unsigned)imu.init_tries, mpu_err_name(ms));
  /* Немає відповіді чи чужий WHO_AM_I (без пристрою може прочитатися 0xFF) —
   * MPU-6050 не знайдено; деталь — err= у рядку SELFTEST */
  if (h == HEALTH_FAIL)
    fault_note("MPU_NOT_FOUND", "MPU not found");

  /* LCD1602: ACK + зворотне читання порту PCF8574, потім ініціалізація HD44780 */
  uint8_t rb = 0;
  lcd_status_t ls = lcd1602_probe(&i2c1_bus, BOARD_LCD_ADDR, &rb);
  if (ls == LCD_OK)
    ls = lcd1602_init(&lcd, &i2c1_bus, BOARD_LCD_ADDR, platform_delay_ms);
  lcd_ready = (ls == LCD_OK);
  if (lcd_ready) {
    selftest_report(&cnt, "lcd1602", HEALTH_OK, "addr=0x%02X rb=0x%02X", BOARD_LCD_ADDR, rb);
  } else {
    selftest_report(&cnt, "lcd1602", HEALTH_FAIL, "addr=0x%02X err=BUS", BOARD_LCD_ADDR);
    fault_note("LCD_NOT_FOUND", "LCD not found");
  }

  if (selftest_ldr(&cnt, "ldr_gate", BOARD_ADC_CH_GATE) == HEALTH_OK)
    READY(RDY_GATE);
  if (selftest_ldr(&cnt, "ldr_class", BOARD_ADC_CH_CLASS) == HEALTH_OK)
    READY(RDY_CLASS);

  /* Серво: ставимо 90° і читаємо CCR назад */
  servo_hal_set_angle(SERVO_SELFTEST_DEG);
  uint16_t pulse = servo_hal_get_pulse_us();
  h = health_servo(pulse, BOARD_SERVO_MIN_US, BOARD_SERVO_MAX_US);
  selftest_report(&cnt, "servo", h, "pulse_us=%u", (unsigned)pulse);
  if (h == HEALTH_FAIL)
    fault_note("SERVO_RANGE", "Servo range");

  printf("%lu SELFTEST_END ok=%u warn=%u fail=%u\r\n",
         (unsigned long)HAL_GetTick(), cnt.ok, cnt.warn, cnt.fail);
  return cnt;
}

static void lcd_show_selftest(const selftest_counts_t *cnt)
{
  char line[LCD1602_COLS + 1];

  if (!lcd_ready)
    return;
  size_t n = lcdfmt_str(line, 0, sizeof line, "ST ok=", 0);   /* "ST ok=%u w=%u f=%u" */
  n = lcdfmt_u32(line, n, sizeof line, cnt->ok, 0);
  n = lcdfmt_str(line, n, sizeof line, " w=", 0);
  n = lcdfmt_u32(line, n, sizeof line, cnt->warn, 0);
  n = lcdfmt_str(line, n, sizeof line, " f=", 0);
  lcdfmt_u32(line, n, sizeof line, cnt->fail, 0);
  (void)lcd1602_set_cursor(&lcd, 0, 0);
  (void)lcd1602_print(&lcd, "Warehouse Sorter");
  (void)lcd1602_set_cursor(&lcd, 0, 1);
  (void)lcd1602_print(&lcd, line);
}

/* ---------------------------------------------------------------------------
 * CLI
 * ------------------------------------------------------------------------- */

/* Ехо введеного символу. Кінець рядка — завжди "\r\n", пара CR LF дає один перенос. */
static void console_echo(char ch)
{
  static char prev;

  if (ch == '\r' || ch == '\n') {
    if (!(ch == '\n' && prev == '\r'))
      con_write("\r\n", 2);
  } else if (ch == 0x08 || ch == 0x7F) {
    printf("\b \b");
  } else {
    con_write(&ch, 1);
  }
  prev = ch;
}

static void cmd_run(const cli_cmd_t *cmd)
{
  switch (cmd->id) {
  case CLI_HELP:
    for (size_t i = 0; i < sizeof help_lines / sizeof help_lines[0]; i++)
      printf("%s\r\n", help_lines[i]);
    break;
  case CLI_STATUS:
    cli_reply("STATUS", "state=%s a=%lu b=%lu reject=%lu total=%lu impact=%u log=%u fault=%s",
              sorter_state_name(sorter.state),
              (unsigned long)sorter.count[BIN_A], (unsigned long)sorter.count[BIN_B],
              (unsigned long)sorter.count[BIN_REJECT], (unsigned long)sorter_total(&sorter),
              (unsigned)sorter.impact, (unsigned)(log_level != 0u),
              fault_reason != NULL ? fault_reason : "NONE");
    break;
  case CLI_RESET:
    sorter_reset_counters(&sorter);
    cli_reply("RESET", "total=%lu", (unsigned long)sorter_total(&sorter));
    break;
  case CLI_LOG:
    log_level = cmd->arg ? 2u : 0u;
    cli_reply("LOG", "on=%u", (unsigned)(log_level != 0u));
    break;
#if PERF
  case CLI_STATS:       stats_report(); break;
  case CLI_STATS_RESET: stats_reset(); break;
  case CLI_LOAD:        load_report(); break;
  case CLI_STACK:       stack_report(); break;
  case CLI_HEAP:        heap_report(); break;
  case CLI_HIST:        hist_report(cmd->name); break;
  case CLI_SET:         set_knob(cmd->name, cmd->arg); break;
#endif
#ifdef LAB2_CAP
  case CLI_STREAM:
    stream_on = (uint8_t)cmd->arg;
    cli_reply("STREAM", "st=OK on=%u", (unsigned)stream_on);
    break;
  case CLI_CAP_WHOAMI: cap_whoami(); break;
  case CLI_CAP_ACCEL:  cap_accel();  break;
  case CLI_CAP_WR2:    cap_wr2();    break;
  case CLI_CAP_NACK:   cap_nack();   break;
  case CLI_CAP_LCD:    cap_lcd();    break;
  case CLI_CAP_SERVO:  cap_servo((uint8_t)cmd->arg); break;
  case CLI_CAP_ADC:    cap_adc();    break;
  case CLI_CAP_UART:   cap_uart();   break;
#endif
  default:
    cli_reply("CLI", "st=BAD");
    break;
  }
}

#if defined(LAB2_CAP) || defined(TEST_I2C_FAULT)
static const char *bus_st_name(bus_status_t st)
{
  switch (st) {
  case BUS_OK:          return "OK";
  case BUS_ERR_NACK:    return "NACK";
  case BUS_ERR_TIMEOUT: return "TIMEOUT";
  default:              return "ERR";
  }
}
#endif

/* ---------------------------------------------------------------------------
 * Вимірювальний harness ЛР2 (make -f app.mk LAB2_CAP=1)
 * ------------------------------------------------------------------------- */
#ifdef LAB2_CAP
static void i2c_scan(void)
{
  printf("I2C scan:\r\n");
  for (uint8_t a = 0x08; a < 0x78; a++)
    if (HAL_I2C_IsDeviceReady(BOARD_I2C, a << 1, 2, 10) == HAL_OK)
      printf("  found 0x%02X\r\n", a);
}

/* Кожні TELEMETRY_PERIOD_MS, поки stream on: прискорення й обидва АЦП */
static void telemetry_task(void)
{
  static uint32_t t_tele;

  if (!stream_on || !period_due(&t_tele, HAL_GetTick(), TELEMETRY_PERIOD_MS))
    return;
  TASK_RUN(PT_TELEMETRY, telemetry_run());
}

static void telemetry_run(void)
{
  mpu6050_accel_raw_t a = {0};
  mpu6050_status_t st_acc = mpu6050_read_accel_raw(&imu, &a);
  printf("accel st=%d raw %6d %6d %6d | mg %5ld %5ld %5ld | gate %4u class %4u\r\n",
         (int)st_acc, a.x, a.y, a.z,
         (long)mpu6050_raw_to_mg(a.x), (long)mpu6050_raw_to_mg(a.y),
         (long)mpu6050_raw_to_mg(a.z),
         adc_hal_read(BOARD_ADC_CH_GATE), adc_hal_read(BOARD_ADC_CH_CLASS));
}

/* Рамка однієї дії для логічного аналізатора: LED_MARK (PA5, канал D4) = 1 рівно
 * на час дії. HAL_UART_Transmit повертається лише після TC, тож ехо команди вже
 * вийшло з TX; I2C_RECOVER друкується тільки після спаду маркера. Повтори FR-09
 * на час дії вимкнено: на записі — рівно одна транзакція. */
static void cap_begin(void)
{
  i2c_hal_set_tries(&i2c1_ctx, 1);
  i2c_hal_defer_log(&i2c1_ctx, 1);
  HAL_GPIO_WritePin(BOARD_LED_MARK_PORT, BOARD_LED_MARK_PIN, GPIO_PIN_SET);
}

static void cap_end(void)
{
  HAL_GPIO_WritePin(BOARD_LED_MARK_PORT, BOARD_LED_MARK_PIN, GPIO_PIN_RESET);
  i2c_hal_defer_log(&i2c1_ctx, 0);
  i2c_hal_set_tries(&i2c1_ctx, I2C_HAL_MAX_TRIES);
}

/* Рядок FR-10: "<ms> CAP <name> st=<OK|NACK|TIMEOUT|ERR> key=value..." */
static void cap_report(const char *name, const char *st, const char *fmt, ...)
{
  va_list ap;

  printf("%lu CAP %s st=%s ", (unsigned long)HAL_GetTick(), name, st);
  va_start(ap, fmt);
  vprintf(fmt, ap);
  va_end(ap);
  con_write("\r\n", 2);
}

/* Невдала транзакція: ISR зафіксовано в i2c_hal до відновлення шини */
static void cap_report_bus(const char *name, bus_status_t st)
{
  cap_report(name, bus_st_name(st), "isr=0x%08lX", (unsigned long)i2c1_ctx.last_isr);
}

/* Напряму через i2c_bus_t, без повторів драйвера: запис адреси регістра (1 байт),
 * STOP, читання len байтів — як у mpu6050.c, але рівно один раз. */
static bus_status_t cap_mpu_read(uint8_t reg, uint8_t *buf, size_t len)
{
  const i2c_bus_t *bus = &i2c1_bus;
  bus_status_t st = bus->write(bus->ctx, BOARD_MPU_ADDR, &reg, 1);

  if (st == BUS_OK)
    st = bus->read(bus->ctx, BOARD_MPU_ADDR, buf, len);
  return st;
}

static void cap_whoami(void)
{
  uint8_t val = 0;

  cap_begin();
  bus_status_t st = cap_mpu_read(MPU6050_REG_WHO_AM_I, &val, 1);
  cap_end();
  if (st == BUS_OK)
    cap_report("whoami", "OK", "val=0x%02X", val);
  else
    cap_report_bus("whoami", st);
}

static void cap_accel(void)
{
  uint8_t b[6] = {0};

  cap_begin();
  bus_status_t st = cap_mpu_read(MPU6050_REG_ACCEL_XOUT_H, b, sizeof b);
  cap_end();
  if (st == BUS_OK)
    cap_report("accel", "OK", "raw=%02X%02X%02X%02X%02X%02X",
               b[0], b[1], b[2], b[3], b[4], b[5]);
  else
    cap_report_bus("accel", st);
}

/* 2-байтовий запис, що у Wokwi C0 обривається TIMEOUT (docs/journal.md, проблема 8) */
static void cap_wr2(void)
{
  const uint8_t b[2] = { MPU6050_REG_PWR_MGMT_1, 0x00u };
  const i2c_bus_t *bus = &i2c1_bus;

  cap_begin();
  bus_status_t st = bus->write(bus->ctx, BOARD_MPU_ADDR, b, sizeof b);
  cap_end();
  if (st == BUS_OK)
    cap_report("wr2", "OK", "reg=0x%02X val=0x%02X", b[0], b[1]);
  else
    cap_report_bus("wr2", st);
}

static void cap_nack(void)
{
  const uint8_t b = 0x00u;
  const i2c_bus_t *bus = &i2c1_bus;

  cap_begin();
  bus_status_t st = bus->write(bus->ctx, CAP_NACK_ADDR, &b, 1);
  cap_end();
  cap_report("nack", bus_st_name(st), "addr=0x%02X", CAP_NACK_ADDR);
}

static void cap_lcd(void)
{
  if (!lcd_ready) {
    cap_report("lcd", "ERR", "ready=0");
    return;
  }

  cap_begin();
  lcd_status_t ls = lcd1602_set_cursor(&lcd, 0, 1);
  if (ls == LCD_OK)
    ls = lcd1602_print(&lcd, CAP_LCD_TEXT);
  cap_end();
  if (ls == LCD_OK)
    cap_report("lcd", "OK", "row=1 text=CAP");
  else
    cap_report("lcd", "ERR", "isr=0x%08lX", (unsigned long)i2c1_ctx.last_isr);
}

/* HAL вмикає preload CCR, тож нова ширина з'являється лише з наступного
 * періоду ШИМ (до 20 мс після запису). LED_MARK тримаємо CAP_SERVO_HOLD_MS:
 * у вікно маркера гарантовано потрапляє щонайменше один повний новий імпульс. */
static void cap_servo(uint8_t deg)
{
  cap_begin();
  servo_hal_set_angle(deg);
  uint16_t pulse = servo_hal_get_pulse_us();
  HAL_Delay(CAP_SERVO_HOLD_MS);
  cap_end();
  cap_report("servo", "OK", "deg=%u pulse_us=%u", (unsigned)deg, (unsigned)pulse);
}

static void cap_adc(void)
{
  cap_begin();
  uint16_t gate = adc_hal_read(BOARD_ADC_CH_GATE);
  uint16_t cls = adc_hal_read(BOARD_ADC_CH_CLASS);
  cap_end();
  cap_report("adc", "OK", "gate=%u class=%u", (unsigned)gate, (unsigned)cls);
}

/* 0x55 разом зі старт- і стоп-бітом (LSB першим) дає на лінії меандр 0101010101 —
 * зручно міряти тривалість біта; далі рядок для розбору символів. */
static void cap_uart(void)
{
  static const uint8_t msg[] = "\x55" "UART-TEST";

  cap_begin();
  HAL_StatusTypeDef s = HAL_UART_Transmit(BOARD_UART, msg, sizeof msg - 1, HAL_MAX_DELAY);
  cap_end();
  con_write("\r\n", 2);
  cap_report("uart", s == HAL_OK ? "OK" : "ERR", "bytes=%u", (unsigned)(sizeof msg - 1));
}
#endif /* LAB2_CAP */
/* USER CODE END 4 */

void Error_Handler(void)
{
  __disable_irq();
  while (1)
  {
  }
}
